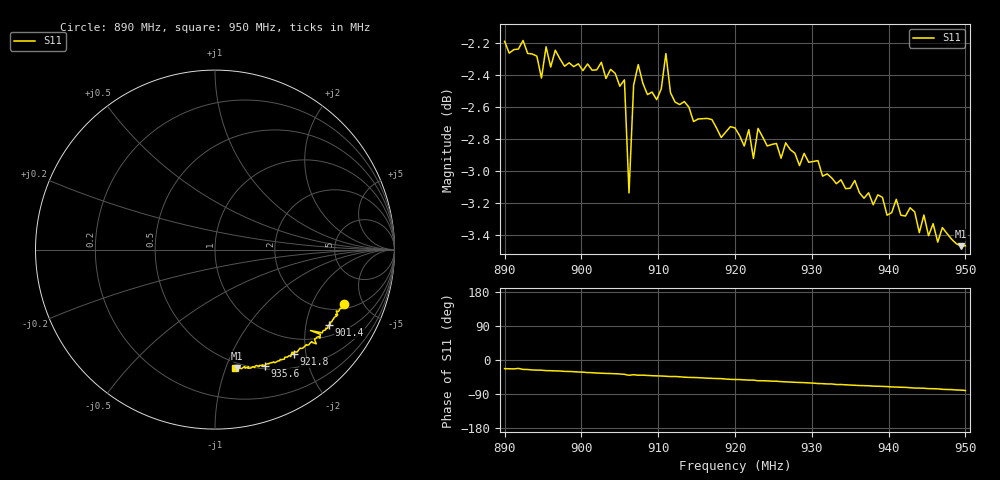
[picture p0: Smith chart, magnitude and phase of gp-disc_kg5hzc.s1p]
# HZ S RI R 50
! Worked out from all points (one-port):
!   101 points, 890 MHz to 950 MHz, reference 50 ohm
!   lowest |S11| = -3.5 dB at 949.4 MHz (marker M1), VSWR 5.07, Z = 22.8 - j54.7 ohm
!   |S11| at or under -10 dB: nowhere
!   S11 on the Smith chart (normalised r, x): 890 MHz: 2.32, -3.53; 901.4 MHz: 1.36, -2.71; 921.8 MHz: 0.71, -1.78; 935.6 MHz: 0.54, -1.38; 950 MHz: 0.45, -1.08
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8.9e8  0.7169 -0.3009
8.912e8  0.7089 -0.3077
8.918e8  0.7157 -0.2925
8.924e8  0.7059 -0.327
8.948e8  0.6755 -0.3419
8.954e8  0.6833 -0.3645
8.978e8  0.6611 -0.3821
9.014e8  0.6349 -0.4204
9.05e8  0.6021 -0.4517
9.056e8  0.5973 -0.4637
9.062e8  0.5315 -0.4508
9.068e8  0.587 -0.4721
9.074e8  0.5842 -0.4932
9.08e8  0.5781 -0.4846
9.098e8  0.5552 -0.4974
9.11e8  0.5644 -0.5248
9.116e8  0.5418 -0.5174
9.128e8  0.5322 -0.5182
9.2e8  0.4551 -0.5713
9.218e8  0.4385 -0.583
9.224e8  0.429 -0.5714
9.23e8  0.4219 -0.5959
9.278e8  0.371 -0.6138
9.35e8  0.2827 -0.6396
9.356e8  0.2782 -0.6459
9.428e8  0.2003 -0.6598
9.494e8  0.1224 -0.6594
9.5e8  0.1129 -0.6614
